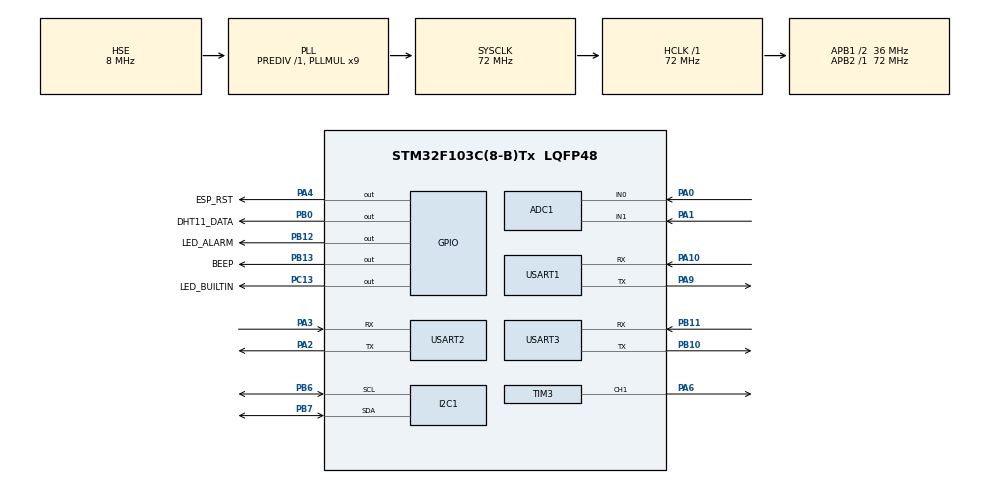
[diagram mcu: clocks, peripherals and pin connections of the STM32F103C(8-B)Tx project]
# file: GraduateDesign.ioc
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ADC1.Channel-0\#ChannelRegularConversion=ADC_CHANNEL_0
ADC1.Channel-1\#ChannelRegularConversion=ADC_CHANNEL_1
ADC1.ContinuousConvMode=ENABLE
ADC1.NbrOfConversion=2
ADC1.NbrOfConversionFlag=1
ADC1.Rank-0\#ChannelRegularConversion=1
ADC1.Rank-1\#ChannelRegularConversion=2
ADC1.SamplingTime-0\#ChannelRegularConversion=ADC_SAMPLETIME_239CYCLES_5
ADC1.SamplingTime-1\#ChannelRegularConversion=ADC_SAMPLETIME_239CYCLES_5
ADC1.master=1
Dma.ADC1.0.Direction=DMA_PERIPH_TO_MEMORY
Dma.ADC1.0.Instance=DMA1_Channel1
Dma.ADC1.0.MemDataAlignment=DMA_MDATAALIGN_HALFWORD
Dma.ADC1.0.MemInc=DMA_MINC_ENABLE
Dma.ADC1.0.Mode=DMA_CIRCULAR
Dma.ADC1.0.PeriphDataAlignment=DMA_PDATAALIGN_HALFWORD
Dma.ADC1.0.PeriphInc=DMA_PINC_DISABLE
Dma.ADC1.0.Priority=DMA_PRIORITY_LOW
Dma.Request0=ADC1
Mcu.Family=STM32F1
Mcu.Name=STM32F103C(8-B)Tx
Mcu.Package=LQFP48
NVIC.DMA1_Channel1_IRQn=true\:0\:0\:false\:false\:true\:false\:true\:true
NVIC.PriorityGroup=NVIC_PRIORITYGROUP_4
NVIC.USART1_IRQn=true\:1\:0\:true\:false\:true\:true\:true\:true
NVIC.USART2_IRQn=true\:2\:0\:true\:false\:true\:true\:true\:true
PA0-WKUP.Signal=ADCx_IN0
PA1.Signal=ADCx_IN1
PA10.Mode=Asynchronous
PA10.Signal=USART1_RX
PA13.Mode=Serial_Wire
PA13.Signal=SYS_JTMS-SWDIO
PA14.Mode=Serial_Wire
PA14.Signal=SYS_JTCK-SWCLK
PA2.Mode=Asynchronous
PA2.Signal=USART2_TX
PA3.Mode=Asynchronous
PA3.Signal=USART2_RX
PA4.GPIO_Label=ESP_RST
PA4.PinState=GPIO_PIN_SET
PA4.Signal=GPIO_Output
PA6.Signal=S_TIM3_CH1
PA9.Mode=Asynchronous
PA9.Signal=USART1_TX
PB0.GPIO_Label=DHT11_DATA
PB0.GPIO_Speed=GPIO_SPEED_FREQ_HIGH
PB0.PinState=GPIO_PIN_SET
PB0.Signal=GPIO_Output
PB10.Mode=Asynchronous
PB10.Signal=USART3_TX
PB11.Mode=Asynchronous
PB11.Signal=USART3_RX
PB12.GPIO_Label=LED_ALARM
PB12.Signal=GPIO_Output
PB13.GPIO_Label=BEEP
PB13.PinState=GPIO_PIN_SET
PB13.Signal=GPIO_Output
PB6.GPIO_Mode=GPIO_MODE_AF_OD
PB6.Mode=I2C
PB6.Signal=I2C1_SCL
PB7.Mode=I2C
PB7.Signal=I2C1_SDA
PC13-TAMPER-RTC.GPIO_Label=LED_BUILTIN
PC13-TAMPER-RTC.PinState=GPIO_PIN_SET
PC13-TAMPER-RTC.Signal=GPIO_Output
PD0-OSC_IN.Mode=HSE-External-Oscillator
PD0-OSC_IN.Signal=RCC_OSC_IN
PD1-OSC_OUT.Mode=HSE-External-Oscillator
PD1-OSC_OUT.Signal=RCC_OSC_OUT
ProjectManager.HeapSize=0x400
ProjectManager.StackSize=0xF00
ProjectManager.TargetToolchain=MDK-ARM V5.32
RCC.ADCPresc=RCC_ADCPCLK2_DIV6
RCC.AHBFreq_Value=72000000
RCC.APB1CLKDivider=RCC_HCLK_DIV2
RCC.APB1Freq_Value=36000000
RCC.APB1TimFreq_Value=72000000
RCC.APB2Freq_Value=72000000
RCC.APB2TimFreq_Value=72000000
RCC.HCLKFreq_Value=72000000
RCC.PLLMUL=RCC_PLL_MUL9
RCC.PLLSourceVirtual=RCC_PLLSOURCE_HSE
RCC.SYSCLKFreq_VALUE=72000000
RCC.SYSCLKSource=RCC_SYSCLKSOURCE_PLLCLK
RCC.USBFreq_Value=72000000
SH.ADCx_IN0.0=ADC1_IN0,IN0
SH.ADCx_IN1.0=ADC1_IN1,IN1
SH.S_TIM3_CH1.0=TIM3_CH1,PWM Generation1 CH1
TIM2.AutoReloadPreload=TIM_AUTORELOAD_PRELOAD_ENABLE
TIM2.Prescaler=71
TIM3.AutoReloadPreload=TIM_AUTORELOAD_PRELOAD_ENABLE
TIM3.Channel-PWM\ Generation1\ CH1=TIM_CHANNEL_1
TIM3.Period=19999
TIM3.Prescaler=71
TIM3.Pulse-PWM\ Generation1\ CH1=1500
USART1.VirtualMode=VM_ASYNC
USART2.VirtualMode=VM_ASYNC
USART3.VirtualMode=VM_ASYNC
VP_TIM2_VS_ClockSourceINT.Mode=Internal
VP_TIM3_VS_ClockSourceINT.Mode=Internal
board=custom

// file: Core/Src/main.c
/* USER CODE BEGIN Header */
/**
  ******************************************************************************
  * @file           : main.c
  * @brief          : Main program body
  ******************************************************************************
  * @attention
  *
  * Copyright (c) 2026 STMicroelectronics.
  * All rights reserved.
  *
  * This software is licensed under terms that can be found in the LICENSE file
  * in the root directory of this software component.
  * If no LICENSE file comes with this software, it is provided AS-IS.
  *
  ******************************************************************************
  */
/* USER CODE END Header */
#include "main.h"
#include "adc.h"
#include "dma.h"
#include "i2c.h"
#include "tim.h"
#include "usart.h"
#include "gpio.h"

/* USER CODE BEGIN Includes */
#include "debug.h"
#include "sensors.h"
#include "servo.h"
#include "actuator.h"
#include "display.h"
#include "radar.h"
#include "alarm.h"
#include "esp8266.h"
#include "mqtt_aliyun.h"
/* USER CODE END Includes */

/* USER CODE BEGIN PV */
/* -----------------------------------------------
 * 各任务计时器
 * ----------------------------------------------- */
static uint32_t last_heartbeat  = 0;   /* 板载 LED 心跳   500ms  */
static uint32_t last_adc        = 0;   /* ADC 采集        1000ms */
static uint32_t last_dht11      = 0;   /* DHT11 采集      2000ms */
static uint32_t last_display    = 0;   /* 屏幕刷新        1000ms */
static uint32_t last_status_log = 0;   /* 系统状态打印    2000ms */
static uint32_t last_mqtt_post  = 0;   /* 阿里云数据上报  5000ms */
static uint32_t last_mqtt_set   = 0;   /* 阿里云数据处理  1000ms */
static uint32_t last_mqtt_check = 0;   /* 阿里云mqtt连接  30000ms */
static uint8_t  led_state       = 0;

/* USER CODE END PV */

void SystemClock_Config(void);

int main(void)
{

  /* MCU Configuration--------------------------------------------------------*/

  /* Reset of all peripherals, Initializes the Flash interface and the Systick. */
  HAL_Init();

  /* Configure the system clock */
  SystemClock_Config();

  /* Initialize all configured peripherals */
  MX_GPIO_Init();
  MX_DMA_Init();
  MX_TIM2_Init();
  MX_USART3_UART_Init();
  MX_ADC1_Init();
  MX_TIM3_Init();
  MX_I2C1_Init();
  MX_USART2_UART_Init();
  MX_USART1_UART_Init();
  /* USER CODE BEGIN 2 */

	/* -----------------------------------------------
	 * 初始化顺序：底层 → 传感器 → 执行器 → 显示 → 通信
	 * ----------------------------------------------- */

	/* 1. 微秒延时定时器 */
	HAL_TIM_Base_Start(&htim2);

	/* 2. 调试串口 */
	Debug_Init();
	DEBUG_INFO("========= System Boot =========");

	/* 3. 传感器初始化 */
	DEBUG_INFO("Init: ADC sensors...");
	Sensors_ADC_Init();

	DEBUG_INFO("Init: DHT11...");
	Sensors_DHT11_Init();

	/* 4. 执行器初始化 */
	DEBUG_INFO("Init: Servo...");
	Servo_Init();

	DEBUG_INFO("Init: Actuator (LED + Buzzer)...");
	Actuator_Init();

	/* 5. 屏幕初始化 */
	DEBUG_INFO("Init: Display...");
	Display_Init();

	/* 6. 雷达初始化 */
	DEBUG_INFO("Init: Radar...");
	Radar_Init();

	/* 7. 报警逻辑初始化 */
	DEBUG_INFO("Init: Alarm system...");
	Alarm_Init();

	/* 8. ESP8266 + 阿里云（最后初始化，含网络连接耗时操作） */
	DEBUG_INFO("Init: ESP8266...");
	ESP_Init();
	DEBUG_INFO("Init: Aliyun MQTT...");
	MQTT_Init();

	/* 上电提示音 */
	Beep_Times(3, 80, 80);

	DEBUG_INFO("======= System Ready ==========");

	/* 初始化所有计时器为当前时间 */
	last_heartbeat  = HAL_GetTick();
	last_adc        = HAL_GetTick();
	last_dht11      = HAL_GetTick();
	last_display    = HAL_GetTick();
	last_status_log = HAL_GetTick();
	last_mqtt_post       = HAL_GetTick();
	last_mqtt_set       = HAL_GetTick();
	last_mqtt_check = HAL_GetTick();

  /* USER CODE END 2 */

  /* Infinite loop */
  /* USER CODE BEGIN WHILE */
  while (1)
  {

	uint32_t now = HAL_GetTick();

    /* -----------------------------------------------
     * Task 1：心跳 LED（板载 PC13）
     * 周期：500ms
     * ----------------------------------------------- */
    if (now - last_heartbeat >= 500)
    {
        last_heartbeat = now;
        led_state = !led_state;
        HAL_GPIO_WritePin(GPIOC, GPIO_PIN_13,
                          led_state ? GPIO_PIN_RESET : GPIO_PIN_SET);
    }

    /* -----------------------------------------------
     * Task 2：ADC 传感器采集（MQ2 + GL5516）
     * 周期：1000ms
     * ----------------------------------------------- */
    if (now - last_adc >= 1000)
    {
        last_adc = now;
        Sensors_ADC_Update();
    }

    /* -----------------------------------------------
     * Task 3：DHT11 温湿度采集
     * 周期：2000ms（DHT11 采样率上限）
     * ----------------------------------------------- */
    if (now - last_dht11 >= 2000)
    {
        last_dht11 = now;
        Sensors_DHT11_Update();
    }

    /* -----------------------------------------------
     * Task 4：雷达数据解析（每次迭代执行，不设周期）
     * 从环形缓冲区取出所有待处理字节，驱动状态机
     * ----------------------------------------------- */
    Radar_Process();

    /* -----------------------------------------------
     * Task 5：雷达结果同步到 sensor_data
     * 有新数据时立即同步（由 updated 标志控制）
     * ----------------------------------------------- */
    Sensors_Radar_Update();

    /* -----------------------------------------------
     * Task 6：报警逻辑评估与执行器联动
     * 每次迭代执行，响应及时
     * ----------------------------------------------- */
    Alarm_Update();

    /* -----------------------------------------------
     * Task 7：执行器非阻塞轮询驱动
     * 驱动 LED 闪烁和蜂鸣器间歇
     * 每次迭代执行
     * ----------------------------------------------- */
    Actuator_Tick();

    /* -----------------------------------------------
     * Task 8：屏幕刷新
     * 周期：1000ms
     * ----------------------------------------------- */
    if (now - last_display >= 1000)
    {
        last_display = now;
        Display_Update();
    }

    /* -----------------------------------------------
     * Task 9：系统状态汇总打印到调试串口
     * 周期：2000ms
     * ----------------------------------------------- */
    if (now - last_status_log >= 2000)
    {
        last_status_log = now;
        Alarm_Print();
    }

    /* Task 10：MQTT 数据上报（5000ms） */
    if (now - last_mqtt_post >= MQTT_POST_INTERVAL_MS)
    {
        last_mqtt_post = now;
        MQTT_Post_Task();
    }

	/* Task 11：MQTT 下行处理（2000ms） */
    if (now - last_mqtt_set >= MQTT_SET_INTERVAL_MS)
    {
        last_mqtt_set = now;
        MQTT_Set_Task();
    }

    /* Task 12：MQTT 连接检查与重连（30000ms） */
    if (now - last_mqtt_check >= 30000)
    {
        last_mqtt_check = now;
        MQTT_CheckConnection();
    }

    /* USER CODE END WHILE */

  }
}

void SystemClock_Config(void)
{
  RCC_OscInitTypeDef RCC_OscInitStruct = {0};
  RCC_ClkInitTypeDef RCC_ClkInitStruct = {0};
  RCC_PeriphCLKInitTypeDef PeriphClkInit = {0};

  /** Initializes the RCC Oscillators according to the specified parameters
  * in the RCC_OscInitTypeDef structure.
  */
  RCC_OscInitStruct.OscillatorType = RCC_OSCILLATORTYPE_HSE;
  RCC_OscInitStruct.HSEState = RCC_HSE_ON;
  RCC_OscInitStruct.HSEPredivValue = RCC_HSE_PREDIV_DIV1;
  RCC_OscInitStruct.HSIState = RCC_HSI_ON;
  RCC_OscInitStruct.PLL.PLLState = RCC_PLL_ON;
  RCC_OscInitStruct.PLL.PLLSource = RCC_PLLSOURCE_HSE;
  RCC_OscInitStruct.PLL.PLLMUL = RCC_PLL_MUL9;
  if (HAL_RCC_OscConfig(&RCC_OscInitStruct) != HAL_OK)
  {
    Error_Handler();
  }

  /** Initializes the CPU, AHB and APB buses clocks
  */
  RCC_ClkInitStruct.ClockType = RCC_CLOCKTYPE_HCLK|RCC_CLOCKTYPE_SYSCLK
                              |RCC_CLOCKTYPE_PCLK1|RCC_CLOCKTYPE_PCLK2;
  RCC_ClkInitStruct.SYSCLKSource = RCC_SYSCLKSOURCE_PLLCLK;
  RCC_ClkInitStruct.AHBCLKDivider = RCC_SYSCLK_DIV1;
  RCC_ClkInitStruct.APB1CLKDivider = RCC_HCLK_DIV2;
  RCC_ClkInitStruct.APB2CLKDivider = RCC_HCLK_DIV1;

  if (HAL_RCC_ClockConfig(&RCC_ClkInitStruct, FLASH_LATENCY_2) != HAL_OK)
  {
    Error_Handler();
  }
  PeriphClkInit.PeriphClockSelection = RCC_PERIPHCLK_ADC;
  PeriphClkInit.AdcClockSelection = RCC_ADCPCLK2_DIV6;
  if (HAL_RCCEx_PeriphCLKConfig(&PeriphClkInit) != HAL_OK)
  {
    Error_Handler();
  }
}

void Error_Handler(void)
{
  __disable_irq();
  while (1)
  {
  }
}
